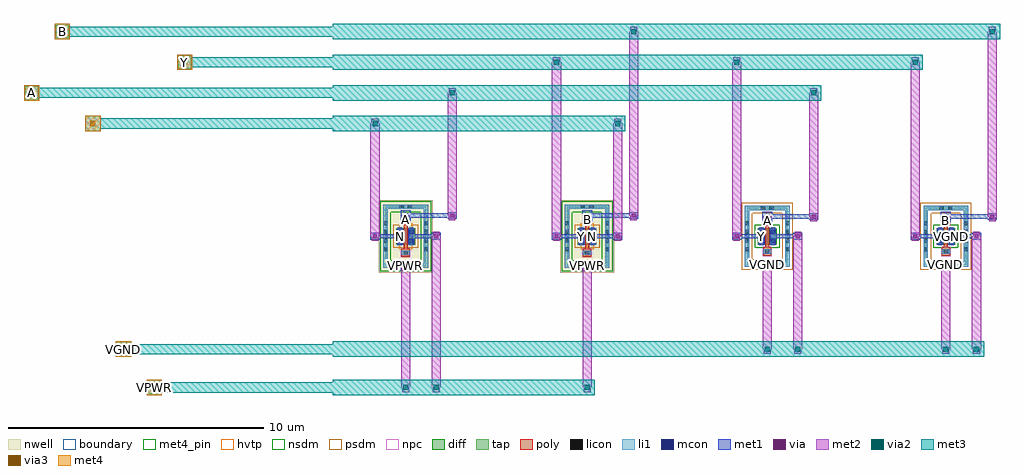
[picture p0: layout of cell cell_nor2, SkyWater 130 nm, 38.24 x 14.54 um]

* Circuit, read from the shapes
.subckt cell_nor2 A B N VGND VPWR Y
XM1 VGND A Y VGND sky130_fd_pr__nfet_01v8 w=0.65 l=0.15
XM2 VGND B Y VGND sky130_fd_pr__nfet_01v8 w=0.65 l=0.15
XM3 VPWR A N VPWR sky130_fd_pr__pfet_01v8_hvt w=0.65 l=0.15
XM4 N B Y VPWR sky130_fd_pr__pfet_01v8_hvt w=0.65 l=0.15
.ends

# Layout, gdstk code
import gdstk
lib = gdstk.Library(unit=1e-6, precision=1e-09)
def R(c, l, rs):  # rectangles x0, y0, x1, y1
    for r in rs: c.add(gdstk.rectangle(r[:2], r[2:], *l))
def A(c, l, x, y, w, h, nx, ny, dx, dy):  # array of equal rectangles
    R(c, l, [(x+i*dx, y+j*dy, x+i*dx+w, y+j*dy+h) for i in range(nx) for j in range(ny)])
def P(c, l, *ps):  # polygons
    for p in ps: c.add(gdstk.Polygon(p, *l))
nwell = (64, 20)
diff = (65, 20)
tap = (65, 44)
poly = (66, 20)
licon = (66, 44)
li1 = (67, 20)
mcon = (67, 44)
met1 = (68, 20)
via = (68, 44)
met2 = (69, 20)
via2 = (69, 44)
met3 = (70, 20)
via3 = (70, 44)
met4_pin = (71, 16)
met4 = (71, 20)
hvtp = (78, 44)
nsdm = (93, 44)
psdm = (94, 20)
npc = (95, 20)
boundary = (235, 4)

cell_nor2 = lib.new_cell('cell_nor2')
R(cell_nor2, nwell, [(24.2,14.8,26.31,17.64), (31.31,14.8,33.42,17.64)])
R(cell_nor2, diff, [(24.89,15.895,25.62,16.545), (32,15.895,32.73,16.545), (39.055,15.895,39.785,16.545), (46.055,15.895,46.785,16.545)])
R(cell_nor2, tap, [(24.38,14.98,26.13,15.15), (31.49,14.98,33.24,15.15), (38.545,15.025,40.295,15.195), (45.545,15.025,47.295,15.195), (24.38,15.15,24.55,17.29), (25.96,15.15,26.13,17.29), (31.49,15.15,31.66,17.29), (33.07,15.15,33.24,17.29), (38.545,15.195,38.715,17.245), (40.125,15.195,40.295,17.245), (45.545,15.195,45.715,17.245), (47.125,15.195,47.295,17.245), (38.545,17.245,40.295,17.415), (45.545,17.245,47.295,17.415), (24.38,17.29,26.13,17.46), (31.49,17.29,33.24,17.46)])
R(cell_nor2, poly, [(25.09,15.41,25.42,15.74), (32.2,15.41,32.53,15.74), (39.255,15.455,39.585,15.785), (46.255,15.455,46.585,15.785), (25.18,15.74,25.33,16.7), (32.29,15.74,32.44,16.7), (39.345,15.785,39.495,16.655), (46.345,15.785,46.495,16.655), (39.255,16.655,39.585,16.985), (46.255,16.655,46.585,16.985), (25.09,16.7,25.42,17.03), (32.2,16.7,32.53,17.03)])
A(cell_nor2, licon, 24.38, 15.625, 0.17, 0.17, 1, 4, 0, 0.34)
A(cell_nor2, licon, 25.96, 15.625, 0.17, 0.17, 1, 4, 0, 0.34)
A(cell_nor2, licon, 31.49, 15.625, 0.17, 0.17, 1, 4, 0, 0.34)
A(cell_nor2, licon, 33.07, 15.625, 0.17, 0.17, 1, 4, 0, 0.34)
A(cell_nor2, licon, 38.545, 15.625, 0.17, 0.17, 1, 4, 0, 0.34)
A(cell_nor2, licon, 40.125, 15.625, 0.17, 0.17, 1, 4, 0, 0.34)
A(cell_nor2, licon, 45.545, 15.625, 0.17, 0.17, 1, 4, 0, 0.34)
A(cell_nor2, licon, 47.125, 15.625, 0.17, 0.17, 1, 4, 0, 0.34)
R(cell_nor2, licon, [(25,14.98,25.17,15.15), (25.34,14.98,25.51,15.15), (32.11,14.98,32.28,15.15), (32.45,14.98,32.62,15.15), (39.165,15.025,39.335,15.195), (39.505,15.025,39.675,15.195), (46.165,15.025,46.335,15.195), (46.505,15.025,46.675,15.195), (25.17,15.49,25.34,15.66), (32.28,15.49,32.45,15.66), (39.335,15.535,39.505,15.705), (46.335,15.535,46.505,15.705), (24.95,15.965,25.12,16.135), (25.39,15.965,25.56,16.135), (32.06,15.965,32.23,16.135), (32.5,15.965,32.67,16.135), (39.115,15.965,39.285,16.135), (39.555,15.965,39.725,16.135), (46.115,15.965,46.285,16.135), (46.555,15.965,46.725,16.135), (24.95,16.305,25.12,16.475), (25.39,16.305,25.56,16.475), (32.06,16.305,32.23,16.475), (32.5,16.305,32.67,16.475), (39.115,16.305,39.285,16.475), (39.555,16.305,39.725,16.475), (46.115,16.305,46.285,16.475), (46.555,16.305,46.725,16.475), (39.335,16.735,39.505,16.905), (46.335,16.735,46.505,16.905), (25.17,16.78,25.34,16.95), (32.28,16.78,32.45,16.95), (39.165,17.245,39.335,17.415), (39.505,17.245,39.675,17.415), (46.165,17.245,46.335,17.415), (46.505,17.245,46.675,17.415), (25,17.29,25.17,17.46), (25.34,17.29,25.51,17.46), (32.11,17.29,32.28,17.46), (32.45,17.29,32.62,17.46)])
R(cell_nor2, li1, [(24.38,14.98,26.13,15.15), (31.49,14.98,33.24,15.15), (38.545,15.025,40.295,15.195), (45.545,15.025,47.295,15.195), (24.38,15.15,24.55,17.29), (25.96,15.15,26.13,17.29), (31.49,15.15,31.66,17.29), (33.07,15.15,33.24,17.29), (38.545,15.195,38.715,17.245), (40.125,15.195,40.295,17.245), (45.545,15.195,45.715,17.245), (47.125,15.195,47.295,17.245), (25.09,15.49,25.42,15.66), (32.2,15.49,32.53,15.66), (39.255,15.535,39.585,15.705), (46.255,15.535,46.585,15.705), (24.95,15.875,25.12,16.565), (25.39,15.875,25.56,16.565), (32.06,15.875,32.23,16.565), (32.5,15.875,32.67,16.565), (39.115,15.875,39.285,16.565), (39.555,15.875,39.725,16.565), (46.115,15.875,46.285,16.565), (46.555,15.875,46.725,16.565), (39.255,16.735,39.585,16.905), (39.335,16.735,39.505,17.075), (46.255,16.735,46.585,16.905), (46.335,16.735,46.505,17.075), (25.09,16.78,25.42,16.95), (25.17,16.78,25.34,17.12), (32.2,16.78,32.53,16.95), (32.28,16.78,32.45,17.12), (38.545,17.245,40.295,17.415), (45.545,17.245,47.295,17.415), (24.38,17.29,26.13,17.46), (31.49,17.29,33.24,17.46)])
R(cell_nor2, mcon, [(25.17,14.98,25.34,15.15), (32.28,14.98,32.45,15.15), (39.335,15.025,39.505,15.195), (46.335,15.025,46.505,15.195), (24.95,15.955,25.12,16.125), (25.39,15.955,25.56,16.125), (32.06,15.955,32.23,16.125), (32.5,15.955,32.67,16.125), (39.115,15.955,39.285,16.125), (39.555,15.955,39.725,16.125), (46.115,15.955,46.285,16.125), (46.555,15.955,46.725,16.125), (24.95,16.315,25.12,16.485), (25.39,16.315,25.56,16.485), (32.06,16.315,32.23,16.485), (32.5,16.315,32.67,16.485), (39.115,16.315,39.285,16.485), (39.555,16.315,39.725,16.485), (46.115,16.315,46.285,16.485), (46.555,16.315,46.725,16.485), (39.335,16.905,39.505,17.075), (46.335,16.905,46.505,17.075), (25.17,16.95,25.34,17.12), (32.28,16.95,32.45,17.12)])
R(cell_nor2, met1, [(25.055,14.865,25.455,15.265), (32.165,14.865,32.565,15.265), (39.22,14.91,39.62,15.31), (46.22,14.91,46.62,15.31), (25.075,14.935,25.435,15.195), (32.185,14.935,32.545,15.195), (39.24,14.98,39.6,15.24), (46.24,14.98,46.6,15.24), (24.92,15.895,25.15,16.545), (25.36,15.895,25.59,16.545), (32.03,15.895,32.26,16.545), (32.47,15.895,32.7,16.545), (39.085,15.895,39.315,16.545), (39.525,15.895,39.755,16.545), (46.085,15.895,46.315,16.545), (46.525,15.895,46.755,16.545), (23.875,16.09,24.235,16.35), (26.275,16.09,26.635,16.35), (30.985,16.09,31.345,16.35), (33.385,16.09,33.745,16.35), (38.04,16.09,38.4,16.35), (40.44,16.09,40.8,16.35), (45.04,16.09,45.4,16.35), (47.44,16.09,47.8,16.35), (24.055,16.135,25.035,16.305), (25.475,16.135,26.455,16.305), (31.165,16.135,32.145,16.305), (32.585,16.135,33.565,16.305), (38.22,16.135,39.2,16.305), (39.64,16.135,40.62,16.305), (45.22,16.135,46.2,16.305), (46.64,16.135,47.62,16.305), (39.22,16.79,39.62,17.19), (46.22,16.79,46.62,17.19), (25.055,16.835,25.455,17.235), (32.165,16.835,32.565,17.235), (41.06,16.86,41.42,17.12), (48.06,16.86,48.42,17.12), (26.895,16.905,27.255,17.165), (34.005,16.905,34.365,17.165), (39.42,16.905,41.24,17.075), (46.42,16.905,48.24,17.075), (25.255,16.95,27.075,17.12), (32.365,16.95,34.185,17.12)])
P(cell_nor2, met1, [(32.365,14.98),(32.365,15.15),(32.365,15.15),(32.365,14.98)],
  [(25.255,14.98),(25.255,15.15),(25.255,15.15),(25.255,14.98)],
  [(46.42,15.025),(46.42,15.195),(46.42,15.195),(46.42,15.025)],
  [(39.42,15.025),(39.42,15.195),(39.42,15.195),(39.42,15.025)])
R(cell_nor2, via, [(25.18,14.99,25.33,15.14), (32.29,14.99,32.44,15.14), (39.345,15.035,39.495,15.185), (46.345,15.035,46.495,15.185), (23.98,16.145,24.13,16.295), (26.38,16.145,26.53,16.295), (31.09,16.145,31.24,16.295), (33.49,16.145,33.64,16.295), (38.145,16.145,38.295,16.295), (40.545,16.145,40.695,16.295), (45.145,16.145,45.295,16.295), (47.545,16.145,47.695,16.295), (41.165,16.915,41.315,17.065), (48.165,16.915,48.315,17.065), (27,16.96,27.15,17.11), (34.11,16.96,34.26,17.11)])
R(cell_nor2, met2, [(25.115,10.11,25.395,10.49), (26.315,10.11,26.595,10.49), (32.225,10.11,32.505,10.49), (25.075,10.3,25.435,15.065), (26.275,10.3,26.635,16.22), (32.185,10.3,32.545,15.065), (39.28,11.61,39.56,11.99), (40.48,11.61,40.76,11.99), (46.28,11.61,46.56,11.99), (47.48,11.61,47.76,11.99), (39.24,11.8,39.6,15.11), (40.44,11.8,40.8,16.22), (46.24,11.8,46.6,15.11), (47.44,11.8,47.8,16.22), (25.125,14.885,25.385,15.245), (32.235,14.885,32.495,15.245), (39.29,14.93,39.55,15.29), (46.29,14.93,46.55,15.29), (23.925,16.04,24.185,16.4), (26.325,16.04,26.585,16.4), (31.035,16.04,31.295,16.4), (33.435,16.04,33.695,16.4), (38.09,16.04,38.35,16.4), (40.49,16.04,40.75,16.4), (45.09,16.04,45.35,16.4), (47.49,16.04,47.75,16.4), (23.875,16.22,24.235,20.64), (30.985,16.22,31.345,23.04), (33.385,16.22,33.745,20.64), (38.04,16.22,38.4,23.04), (45.04,16.22,45.4,23.04), (41.11,16.81,41.37,17.17), (48.11,16.81,48.37,17.17), (26.945,16.855,27.205,17.215), (34.055,16.855,34.315,17.215), (41.06,16.99,41.42,21.84), (48.06,16.99,48.42,24.24), (26.895,17.035,27.255,21.84), (34.005,17.035,34.365,24.24), (23.915,20.45,24.195,20.83), (33.425,20.45,33.705,20.83), (26.935,21.65,27.215,22.03), (41.1,21.65,41.38,22.03), (31.025,22.85,31.305,23.23), (38.08,22.85,38.36,23.23), (45.08,22.85,45.36,23.23), (34.045,24.05,34.325,24.43), (48.1,24.05,48.38,24.43)])
R(cell_nor2, via2, [(25.155,10.2,25.355,10.4), (26.355,10.2,26.555,10.4), (32.265,10.2,32.465,10.4), (39.32,11.7,39.52,11.9), (40.52,11.7,40.72,11.9), (46.32,11.7,46.52,11.9), (47.52,11.7,47.72,11.9), (23.955,20.54,24.155,20.74), (33.465,20.54,33.665,20.74), (26.975,21.74,27.175,21.94), (41.14,21.74,41.34,21.94), (31.065,22.94,31.265,23.14), (38.12,22.94,38.32,23.14), (45.12,22.94,45.32,23.14), (34.085,24.14,34.285,24.34), (48.14,24.14,48.34,24.34)])
R(cell_nor2, met3, [(15.1,10,15.7,10.6), (22.4,10,32.665,10.6), (25.005,10.05,25.505,10.55), (26.205,10.05,26.705,10.55), (32.115,10.05,32.615,10.55), (13.9,11.5,14.5,12.1), (22.4,11.5,47.92,12.1), (39.17,11.55,39.67,12.05), (40.37,11.55,40.87,12.05), (46.17,11.55,46.67,12.05), (47.37,11.55,47.87,12.05), (12.7,20.34,13.3,20.94), (22.4,20.34,33.865,20.94), (23.805,20.39,24.305,20.89), (33.315,20.39,33.815,20.89), (10.3,21.54,10.9,22.14), (22.4,21.54,41.54,22.14), (26.825,21.59,27.325,22.09), (40.99,21.59,41.49,22.09), (16.3,22.74,16.9,23.34), (22.4,22.74,45.52,23.34), (30.915,22.79,31.415,23.29), (37.97,22.79,38.47,23.29), (44.97,22.79,45.47,23.29), (11.5,23.94,12.1,24.54), (22.4,23.94,48.54,24.54), (33.935,23.99,34.435,24.49), (47.99,23.99,48.49,24.49)])
R(cell_nor2, via3, [(15.3,10.2,15.5,10.4), (14.1,11.7,14.3,11.9), (12.9,20.54,13.1,20.74), (10.5,21.74,10.7,21.94), (16.5,22.94,16.7,23.14), (11.7,24.14,11.9,24.34)])
R(cell_nor2, met4_pin, [(15.15,10.05,15.65,10.55), (13.95,11.55,14.45,12.05), (10.35,21.59,10.85,22.09), (16.35,22.79,16.85,23.29), (11.55,23.99,12.05,24.49)])
R(cell_nor2, met4, [(15.1,10,15.7,10.6), (15.15,10,15.65,10.6), (13.9,11.5,14.5,12.1), (13.95,11.5,14.45,12.1), (12.7,20.34,13.3,20.94), (12.75,20.34,13.25,20.94), (10.3,21.54,10.9,22.14), (10.35,21.54,10.85,22.14), (16.3,22.74,16.9,23.34), (16.35,22.74,16.85,23.34), (11.5,23.94,12.1,24.54), (11.55,23.94,12.05,24.54)])
R(cell_nor2, hvtp, [(25,15.715,25.51,16.725), (32.11,15.715,32.62,16.725)])
R(cell_nor2, nsdm, [(24.255,14.855,26.255,15.275), (31.365,14.855,33.365,15.275), (24.255,15.275,24.675,17.165), (25.835,15.275,26.255,17.165), (31.365,15.275,31.785,17.165), (32.945,15.275,33.365,17.165), (38.93,15.77,39.91,16.67), (45.93,15.77,46.91,16.67), (24.255,17.165,26.255,17.585), (31.365,17.165,33.365,17.585)])
R(cell_nor2, psdm, [(38.42,14.9,40.42,15.32), (45.42,14.9,47.42,15.32), (38.42,15.32,38.84,17.12), (40,15.32,40.42,17.12), (45.42,15.32,45.84,17.12), (47,15.32,47.42,17.12), (24.765,15.77,25.745,16.67), (31.875,15.77,32.855,16.67), (38.42,17.12,40.42,17.54), (45.42,17.12,47.42,17.54)])
R(cell_nor2, npc, [(25.07,15.39,25.44,15.76), (32.18,15.39,32.55,15.76), (39.235,15.435,39.605,15.805), (46.235,15.435,46.605,15.805), (39.235,16.635,39.605,17.005), (46.235,16.635,46.605,17.005), (25.07,16.68,25.44,17.05), (32.18,16.68,32.55,17.05)])
R(cell_nor2, boundary, [(24.465,15.065,26.045,17.375), (31.575,15.065,33.155,17.375), (38.63,15.11,40.21,17.33), (45.63,15.11,47.21,17.33)])
cell_nor2.add(gdstk.FlexPath([(10.6,21.84),(22.4,21.84)], 0.4, ends="flush", simple_path=True, layer=70, datatype=20))  # met3
cell_nor2.add(gdstk.FlexPath([(11.8,24.24),(22.4,24.24)], 0.4, ends="flush", simple_path=True, layer=70, datatype=20))  # met3
cell_nor2.add(gdstk.FlexPath([(13,20.64),(22.4,20.64)], 0.4, ends="flush", simple_path=True, layer=70, datatype=20))  # met3
cell_nor2.add(gdstk.FlexPath([(14.2,11.8),(22.4,11.8)], 0.4, ends="flush", simple_path=True, layer=70, datatype=20))  # met3
cell_nor2.add(gdstk.FlexPath([(15.4,10.3),(22.4,10.3)], 0.4, ends="flush", simple_path=True, layer=70, datatype=20))  # met3
cell_nor2.add(gdstk.FlexPath([(16.6,23.04),(22.4,23.04)], 0.4, ends="flush", simple_path=True, layer=70, datatype=20))  # met3
cell_nor2.add(gdstk.Label('VGND', (46.42,15.11), layer=67, texttype=5))
cell_nor2.add(gdstk.Label('Y', (39.2,16.22), layer=67, texttype=5))
cell_nor2.add(gdstk.Label('A', (39.42,16.82), layer=67, texttype=5))
cell_nor2.add(gdstk.Label('B', (46.42,16.82), layer=67, texttype=5))
cell_nor2.add(gdstk.Label('VGND', (46.64,16.22), layer=67, texttype=5))
cell_nor2.add(gdstk.Label('A', (25.255,16.865), layer=67, texttype=5))
cell_nor2.add(gdstk.Label('VPWR', (32.365,15.065), layer=67, texttype=5))
cell_nor2.add(gdstk.Label('Y', (46.2,16.22), layer=67, texttype=5))
cell_nor2.add(gdstk.Label('VPWR', (25.255,15.065), layer=67, texttype=5))
cell_nor2.add(gdstk.Label('N', (25.035,16.22), layer=67, texttype=5))
cell_nor2.add(gdstk.Label('VPWR', (25.475,16.22), layer=67, texttype=5))
cell_nor2.add(gdstk.Label('Y', (32.145,16.22), layer=67, texttype=5))
cell_nor2.add(gdstk.Label('N', (32.585,16.22), layer=67, texttype=5))
cell_nor2.add(gdstk.Label('VGND', (39.64,16.22), layer=67, texttype=5))
cell_nor2.add(gdstk.Label('B', (32.365,16.865), layer=67, texttype=5))
cell_nor2.add(gdstk.Label('VGND', (39.42,15.11), layer=67, texttype=5))
cell_nor2.add(gdstk.Label('A', (10.6,21.84), layer=71, texttype=5))
cell_nor2.add(gdstk.Label('B', (11.8,24.24), layer=71, texttype=5))
cell_nor2.add(gdstk.Label('Y', (16.6,23.04), layer=71, texttype=5))
cell_nor2.add(gdstk.Label('VGND', (14.2,11.8), layer=71, texttype=5))
cell_nor2.add(gdstk.Label('VPWR', (15.4,10.3), layer=71, texttype=5))

lib.write_gds('cell_nor2.gds')
